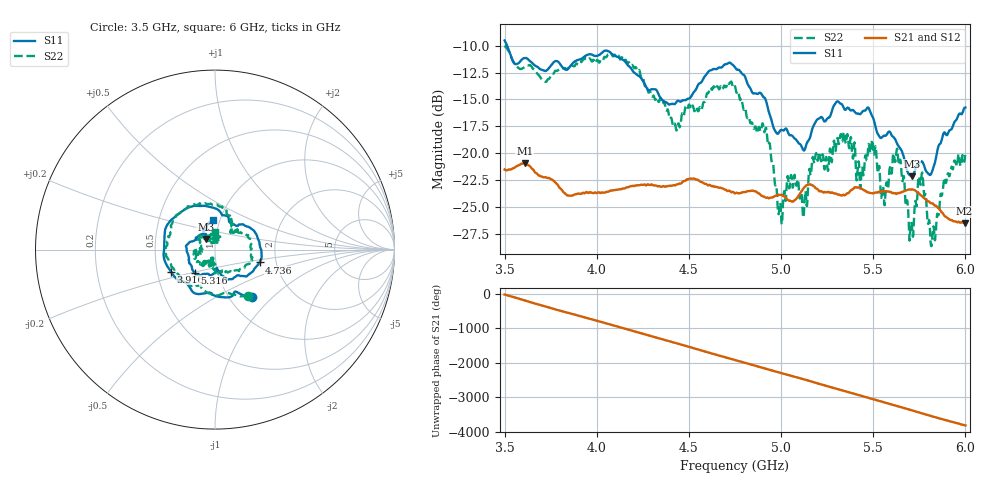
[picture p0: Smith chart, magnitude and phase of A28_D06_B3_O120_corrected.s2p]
! Created with skrf 1.9.0 (http://scikit-rf.org).
# Hz S RI R 50.0
!freq ReS11 ImS11 ReS21 ImS21 ReS12 ImS12 ReS22 ImS22
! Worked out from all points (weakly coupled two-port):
!   1601 points, 3.5 GHz to 6 GHz, reference 50 ohm
!   highest |S21| = -20.94 dB at 3.609 GHz (marker M1); lowest = -26.5 dB at 5.995 GHz (marker M2)
!   lowest |S11| = -22.2 dB at 5.711 GHz (marker M3), VSWR 1.17, Z = 44.8 + j5.29 ohm
!   |S11| at or under -10 dB: 3.514 GHz to end of sweep
!   |S22| runs from -28.7 to -10.0 dB; largest |S21 - S12| = 0.00097
!   S11 on the Smith chart (normalised r, x): 3.5 GHz: 1.27, -0.75; 3.916 GHz: 0.59, -0.16; 4.736 GHz: 1.64, -0.25; 5.316 GHz: 0.77, -0.21; 6 GHz: 0.93, +0.31
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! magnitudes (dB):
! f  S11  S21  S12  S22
! 3.5 GHz  -9.5  -21.5  -21.5  -10.0
! 3.609 GHz  -11.2  -20.9  -20.9  -12.0
! 3.916 GHz  -11.2  -23.8  -23.7  -11.5
! 3.917 GHz  -11.2  -23.8  -23.7  -11.5
! 4.334 GHz  -14.5  -23.1  -23.0  -15.2
! 4.441 GHz  -15.1  -22.9  -22.8  -17.3
! 4.736 GHz  -11.8  -23.6  -23.6  -13.7
! 4.75 GHz  -12.0  -23.8  -23.7  -13.8
! 4.911 GHz  -14.9  -24.1  -24.0  -18.0
! 4.995 GHz  -17.9  -23.9  -23.8  -24.6
! 5.045 GHz  -18.3  -24.4  -24.4  -23.3
! 5.13 GHz  -19.6  -23.1  -23.1  -23.9
! 5.167 GHz  -17.9  -23.0  -22.9  -20.9
! 5.316 GHz  -15.3  -23.9  -23.8  -19.0
! 5.584 GHz  -18.0  -23.6  -23.5  -22.5
! 5.638 GHz  -19.4  -23.7  -23.7  -20.9
! 5.711 GHz  -22.2  -23.4  -23.3  -27.0
! 5.758 GHz  -20.8  -23.9  -23.8  -22.9
! 5.825 GHz  -21.4  -24.7  -24.7  -26.9
! 5.892 GHz  -18.2  -25.9  -25.9  -22.8
! 5.995 GHz  -15.8  -26.5  -26.4  -20.7
! 6 GHz  -15.8  -26.5  -26.4  -20.0
